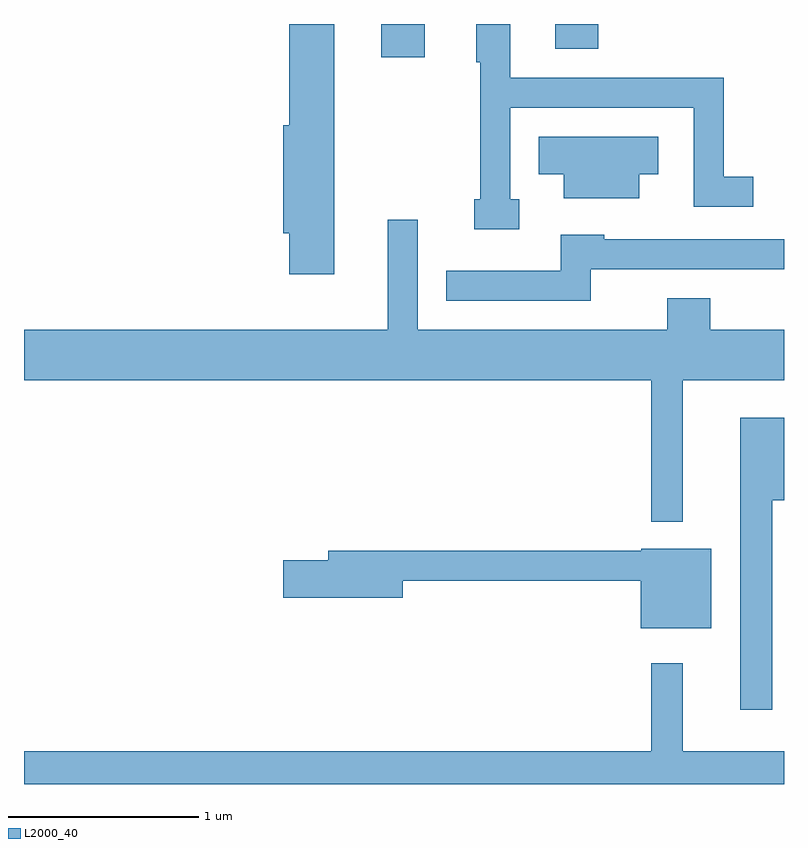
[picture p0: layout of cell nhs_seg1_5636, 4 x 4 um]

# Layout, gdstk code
import gdstk
lib = gdstk.Library(unit=1e-6, precision=1e-09)
def R(c, l, rs):  # rectangles x0, y0, x1, y1
    for r in rs: c.add(gdstk.rectangle(r[:2], r[2:], *l))
def P(c, l, *ps):  # polygons
    for p in ps: c.add(gdstk.Polygon(p, *l))
L2000_40 = (2000, 40)

nhs_seg1_5636 = lib.new_cell('nhs_seg1_5636')
R(nhs_seg1_5636, L2000_40, [(357.491,863.536,357.719,863.712), (358.406,863.581,358.634,863.712)])
P(nhs_seg1_5636, L2000_40, [(357.244,863.712),(357.006,863.712),(357.006,863.179),(356.976,863.179),(356.976,862.611),(357.006,862.611),(357.006,862.396),(357.244,862.396)],
  [(358.218,862.789),(358.169,862.789),(358.169,863.271),(359.136,863.271),(359.136,862.751),(359.448,862.751),(359.448,862.909),(359.294,862.909),(359.294,863.429),(358.169,863.429),(358.169,863.712),(357.991,863.712),(357.991,863.511),(358.011,863.511),(358.011,862.789),(357.981,862.789),(357.981,862.631),(358.218,862.631)],
  [(358.849,862.921),(358.949,862.921),(358.949,863.119),(358.321,863.119),(358.321,862.921),(358.451,862.921),(358.451,862.796),(358.849,862.796)],
  [(359.079,861.836),(359.611,861.836),(359.611,862.104),(359.224,862.104),(359.224,862.269),(358.996,862.269),(358.996,862.104),(357.684,862.104),(357.684,862.683),(357.526,862.683),(357.526,862.104),(355.611,862.104),(355.611,861.836),(358.911,861.836),(358.911,861.093),(359.079,861.093)],
  [(358.594,862.421),(359.611,862.421),(359.611,862.579),(358.664,862.579),(358.664,862.604),(358.436,862.604),(358.436,862.414),(357.833,862.414),(357.833,862.256),(358.594,862.256)],
  [(359.549,861.206),(359.611,861.206),(359.611,861.639),(359.381,861.639),(359.381,860.103),(359.549,860.103)],
  [(359.229,860.949),(358.86,860.949),(358.86,860.939),(357.211,860.939),(357.211,860.889),(356.976,860.889),(356.976,860.691),(357.604,860.691),(357.604,860.781),(358.856,860.781),(358.856,860.531),(359.229,860.531)],
  [(359.611,859.884),(359.079,859.884),(359.079,860.348),(358.911,860.348),(358.911,859.884),(355.611,859.884),(355.611,859.712),(359.611,859.712)])

lib.write_gds('nhs_seg1_5636.gds')
